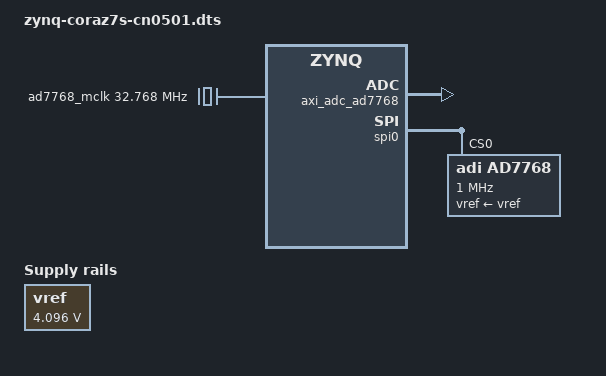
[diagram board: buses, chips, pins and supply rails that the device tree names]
// SPDX-License-Identifier: GPL-2.0
/*
 * Analog Devices AD7768
 * https://www.analog.com/en/products/ad7768.html
 *
 * hdl_project: <cn0501/coraz7s>
 * board_revision: <A>
 *
 * Copyright (C) 2020 Analog Devices Inc.
 */
/dts-v1/;
#include "zynq-coraz7s.dtsi"
#include <dt-bindings/interrupt-controller/irq.h>

/ {
	vref: regulator-vref {
		compatible = "regulator-fixed";
		regulator-name = "fixed-supply";
		regulator-min-microvolt = <4096000>;
		regulator-max-microvolt = <4096000>;
		regulator-always-on;
	};

	clocks {
		ad7768_mclk: clock@0 {
			#clock-cells = <0>;
			compatible = "fixed-clock";
			clock-frequency = <32768000>;
		};
	};
};

&fpga_axi {
	rx_dma: rx-dmac@7c480000 {
		compatible = "adi,axi-dmac-1.00.a";
		reg = <0x7c480000 0x1000>;
		#dma-cells = <1>;
		interrupt-parent = <&intc>;
		interrupts = <0 54 IRQ_TYPE_LEVEL_HIGH>;
		clocks = <&clkc 16>;

		adi,channels {
			#size-cells = <0>;
			#address-cells = <1>;

			dma-channel@0 {
				reg = <0>;
				adi,source-bus-width = <256>;
				adi,source-bus-type = <2>;
				adi,destination-bus-width = <64>;
				adi,destination-bus-type = <0>;
			};
		};
	};

	axi_adc_ad7768: cf_axi_adc@43c00000 {
		compatible = "adi,axi-adc-10.0.a";
		reg = <0x43c00000 0x10000>;
		dmas = <&rx_dma 0>;
		dma-names = "rx";
		spibus-connected = <&ad7768>;
	};
};

&spi0 {
	status = "okay";

	ad7768: adc@0 {
		compatible = "adi,ad7768";
		reg = <0>;
		spi-max-frequency = <1000000>;

		vref-supply = <&vref>;

		clocks = <&ad7768_mclk>;
		clock-names = "mclk";
	};
};
